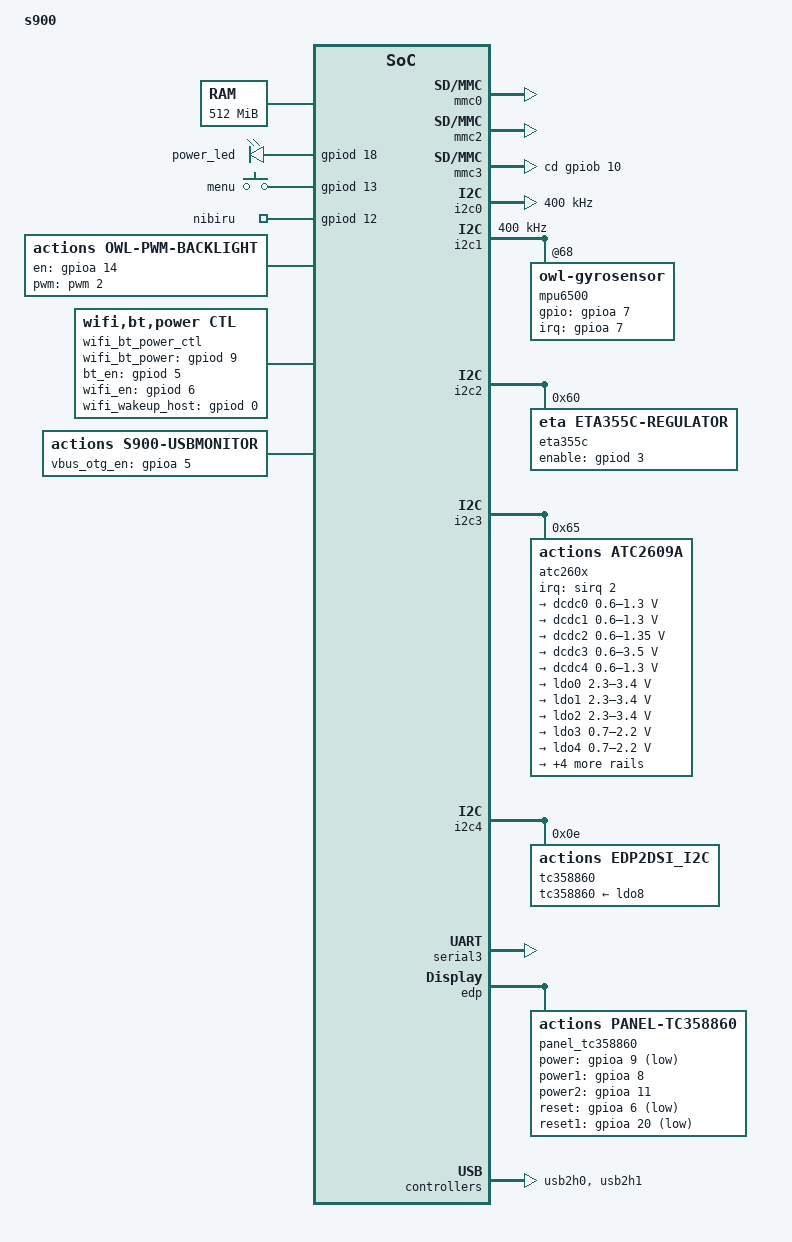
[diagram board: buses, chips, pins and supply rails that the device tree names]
/*
 * Copyright (C) 2014 Actions Semi. Inc
 *
 * This program is free software; you can redistribute it and/or
 * modify it under the terms of the GNU General Public License as
 * published by the Free Software Foundation version 2.
 *
 * This program is distributed "as is" WITHOUT ANY WARRANTY of any
 * kind, whether express or implied; without even the implied warranty
 * of MERCHANTABILITY or FITNESS FOR A PARTICULAR PURPOSE.  See the
 * GNU General Public License for more details.
 */

/dts-v1/;

/* reserve 48MB for logo(fb) */
/memreserve/ 0x19000000 0x03000000;

/* reserve 512MB for ion1(pmem) */
/memreserve/ 0x20000000 0x20000000;

/* reserve 4k for afinfo */
/memreserve/ 0x18FFF000 0x1000;

#include "s900.dtsi"

/ {
	model = "s900";
	compatible = "actions,s900", "actions,s900-evb";

	chosen {
		bootargs="fb_logo_reserve=0x19000000,0x03000000 console=ttyS5,115200 earlyprintk=serial-owl,0xe012a000 no_console_suspend loglevel=4";
	};

	memory@00000000 {
		device_type = "memory";
		reg = <0 0x00000000 0 0x20000000>;
	};

	ion_config {
		compatible = "actions,s900-ion";
		actions,ion_heap_pmem_base = <0x0 0x20000000>;
		actions,ion_heap_pmem_size = <0x0 0x20000000>;
	};

	gpiod: gpiod@e01b0000 {
		pinctrl-names = "default";
		pinctrl-0 = <&pinctrl_gpio_lvds_o>, <&pinctrl_gpio_lvds_e>;
	};

	pinctrl@e01b0000 {
		pinctrl_i2c4: i2c4 {
			i2c4_mfp {
				actions,groups = "mfp3_8";
				actions,function = "i2c4";
			};

			i2c4_paddrv {
				actions,groups = "paddrv1_9_8";
				actions,paddrv = <3>;/*level 0~3*/
			};
		};

		pinctrl_i2c0_default: i2c0 {
			i2c0_mfp {
				actions,groups = "mfp3_18_16";
				actions,function = "i2c0";
			};

			i2c0_pull {
				actions,pins = "P_I2C0_SCLK", "P_I2C0_SDATA";
				actions,pull = <2>; /*PULL UP*/
			};

			i2c0_paddrv {
				actions,groups = "paddrv2_31_30";
				actions,paddrv = <3>;/*level 0~3*/
			};
		};
		pinctrl_i2c1_default: i2c1 {
			i2c1_paddrv {
				actions,groups = "paddrv2_29_28";
				actions,paddrv = <3>;/*level 0~3*/
			};
		};

	};


	pwm: pwm@e01b0000 {
		pwm2 {
			id = <2>;
			pinctrl-names = "default";
			pinctrl-0 = <&pwm2_state_default>;
		};
	};


	mmc0: mmc@e0338000 {
		card-type = "emmc";
		status = "okay";
	};

	mmc1: mmc@e033c000 {
		card-type = "emmc";
		status = "disabled";
	};

	mmc2: mmc@e0334000 {
		card-type = "wifi";
		wifi-card-voltage = "1.8v";  /* only: "1.8v", "3.1v" */
		status = "okay";
	};

	mmc3: mmc@e0330000 {
		card-type = "memory";  /* only: "memory", "wifi", or "emmc" */
		card-detect-mode = "gpio";  /* only: "sirq", "gpio", or "command" */
		cd-gpios = <&gpiob 10 0>; /*GPIOBE14 */
		sd_vcc = "ldo0";
		status = "okay";
	};


	i2c0: i2c@e0170000  {
	  clock-frequency = <400000>;
		status = "okay";

	};


	i2c1: i2c@e0172000 {
		clock-frequency = <400000>;
		status = "okay";
		mpu6500@68 {
		compatible = "owl-gyrosensor";
		interrupt-parent = <&gpioa>;
		interrupts = <7>;
		gpios = <&gpioa 7 0>; /* GPIOA7 */
		i2c_adapter_id = <1>;
		/*gyro_vcc = "ldo7";*/
		/*vol_range = <1800000 1810000>;*/
		MASTER_inv6500_position = "-2";
		SECONDARY_ak8963c_position = "-2";
		};
	};

  i2c2: i2c@e0174000 {
		status = "okay";

		eta355c: eta355c-regulator {
			compatible = "eta,eta355c-regulator";
			reg = <0x60>;

			regulator-name = "eta355c";
			regulator-type = "voltage";
			regulator-min-microvolt = <700000>;
			regulator-max-microvolt = <1350000>;
			startup-delay-us = <1000>;	/* us */
			regulator-ramp-delay = <250>;	/* uV/us */
			enable-gpio = <&gpiod 3 0x4>;	/* GPIOD3 */
			enable-active-high;
		  };
	  };


	i2c3: i2c@e0176000 {
		status = "okay";
		/* atc2609a (5303) */
		atc260x: atc2609a@65 {
			compatible = "actions,atc2609a","actions,atc260x";
			reg = <0x65>;
			interrupt-parent = <&sirq>;
			interrupts = <2>;
			interrupt-controller;
			#interrupt-cells = <1>;

			losc_32k_output_enable = <1>;    /* enable/disable output 32.768K clock via AUXIN1 pin */

			pm {
				compatible = "actions,atc2609a-pm";
			};

			onoff {
				compatible = "actions,atc2609a-onoff";
			};

			rtc{
				compatible = "actions,atc2609a-rtc";
			};

			atc260x_gpio{
				compatible = "actions,atc2609a-gpio";
			};
			atc260x-adckeypad{
				#define KEY_UP			103
				#define KEY_DOWN		108
				#define KEY_LEFT		105
				#define KEY_RIGHT		106
				#define KEY_OK			353
				#define KEY_BACK		158
				#define KEY_VOLUME_UP	115
				#define KEY_VOLUME_DOWN	114
				#define KEY_MENU		139
				keymapsize = <9>;                   /* number of ADC key */
				filter_dep = <3>;                   /* depth of the moving average filter (length of filter queue) */
				variance = <15>;                    /* filter will not output until the difference between every two ADC samples in the filter queue goes below this value */
				poll_interval =  <20>;              /* sample period, in ms */
				left_adc_val =  <2400 2800 3650 3250 1500 1950 300 650 1050>;           /* for key code translator, each value defines a lower bound of ADC value of a key */
				right_adc_val = <2700 3200 3900 3500 1800 2250 550 950 1350>;          /* for key code translator, each value defines a upper bound of ADC value of a key */
				key_val = <KEY_UP KEY_DOWN KEY_LEFT KEY_RIGHT KEY_OK KEY_BACK KEY_VOLUME_UP KEY_VOLUME_DOWN KEY_MENU>; /* for key code translator, each value defines the key_code of a key */
				adc_channel_name = "REMCON";          /* the ADC channel used for sampling, valid names are REMCON AUX0 AUX1 AUX2 (AUX3) */
				compatible = "actions,atc2609a-adckeypad";
			};

			/*the cfg params must be read	in the first installed ko,
			 now snd-soc-atv5302.ko is first installed.
			 1, earphone_detect_level use the third value of earphone_gpios
			 2, commonly, we shouldn't change the value of speaker_gain and earphone_gain*/

			atc260x-audio{
				compatible = "actions,atc2609a-audio";
				status = "okay";
        pinctrl-names = "default";
        pinctrl-0 = <&i2s0_state_default>;
				clocks = <&clock CLK_AUDIO_PLL>, <&clock CLK_HDMI_AUDIO>;
				clock-names = "audio_pll", "hdmia";
				earphone_detect_gpios = <&gpioa 3 0>; /*0: high, 1: low hr280ac GPIOB11 0*/
				speaker_en_gpios = <&gpioa 19 1>; /*hr280ac GPIOA(19) 0: high, 1: low*/
				earphone_output_mode = <1>; /*0: direct mode, 1: undirect mode*/
				mic_num = <1>; /*just suport 1, 2*/
				mic0_gain = < 0x7 0x7 >; /*<Lchannel,Rchannel> [0x0~0xF]*/
				speaker_gain = < 0xaa 0xaa >; /*<Lchannel,Rchannel>[0x00~0xbebe]*/
				earphone_gain = < 0xbe 0xbe >; /*<Lchannel,Rchannel>[0x00~0xbebe]*/
				speaker_volume = < 0x28 0x28 >; /*volume [0x00~0x28]*/
				earphone_volume = < 0x28 0x28 >; /*volume [0x00~0x28]*/
				earphone_detect_mode = <0>;  /*0: polling,   1: interrupt*/
			};

			atc260x-hwmon{
				compatible = "actions,atc2609a-hwmon";
			};

			atc260x-charger{
				compatible = "actions,atc2609a-charger";
				rsense = <20>;/*unit:mohm*/
				bat_type = <3>;/*0:4.18v; 1:4.2v; 2:4.3v; 3:4.35v*/
				bl_on_current_usb_pc = <200>;
				bl_off_current_usb_pc = <400>;
				bl_on_current_usb_adp = <200>;
				bl_on_current_usb_adp_high = <200>;
				bl_off_current_usb_adp = <1200>;
				bl_on_current_wall_adp = <200>;
				bl_off_current_wall_adp = <1400>;
				support_adaptor_type = <2>; /*1: DCIN  2: USB  3:DCIN+USB*/
				ext_charger = <0>;
				usb_adapter_as_ac = <1>;/*0:usb ada keep itself; 1:usb ada used as DCIN when usb plug and batv<3.3v during minicharge*/
				usb_pc_ctl_mode = <1>; /*0:disable vbus ctl;1:current limited;2:voltage limited*/
				wall_switch = <&gpioa 4 0>;/*GPIOA4,0: high, 1: low*/
			};
      atc2609a-battery{
				compatible = "actions,atc2609a-battery";
				ocv_table = <3616 3663 3677 3703 3722 3738 3758 3780 3810 3854 3908 3965 4035 4110 4207 4320>;/*mv*/
				r_table = <82 85 83 85 88 92 92 83 83 83 83 82 82 82 83 83>;/*mohm*/
				design_capacity = <4000>;/*unit:mAh*/
				taper_vol = <4320>;/*unit:mv*/
				taper_cur = <300>;/*unit:ma*/
				term_vol = <3400>;/*unit:mv*/
				ov_protect = <4375>;/*unit:mv*/
				sleep_current = <15000>;/*unit:ua*/
				shutdown_current = <50>;/*unit:ua*/
				boot_cap_threshold = <3>;
				bl_on_vol = <3300>;/*unit:mv*/
				print_switch = <0>;
				log_switch = <0>;
			};



			/* DCDC0       VDD_CORE
			 * DCDC1       VDD_CPU
			 * DCDC2       VDDR
			 * DCDC3       VCC
			 * DCDC4       VDD_CPUM
			 */
			dcdc0: dcdc0 {
				compatible = "actions,atc2609a-dcdc0","actions,atc2609a-dcdc";
				regulator-name = "dcdc0";
				regulator-min-microvolt = <600000>;
				regulator-max-microvolt = <1300000>;
				regulator-always-on;
			};

			dcdc1: dcdc1 {
				compatible = "actions,atc2609a-dcdc1","actions,atc2609a-dcdc";
				regulator-name = "dcdc1";
				regulator-min-microvolt = <600000>;
				regulator-max-microvolt = <1300000>;
				regulator-always-on;
			};

			dcdc2: dcdc2 {
				compatible = "actions,atc2609a-dcdc2","actions,atc2609a-dcdc";
				regulator-name = "dcdc2";
				regulator-min-microvolt = <600000>;
				regulator-max-microvolt = <1350000>;
				regulator-always-on;
			};

			dcdc3: dcdc3 {
				compatible = "actions,atc2609a-dcdc3","actions,atc2609a-dcdc";
				regulator-name = "dcdc3";
				regulator-min-microvolt = <600000>;
				regulator-max-microvolt = <3500000>;
				regulator-always-on;
			};

			dcdc4: dcdc4 {
				compatible = "actions,atc2609a-dcdc4","actions,atc2609a-dcdc";
				regulator-name = "dcdc4";
				regulator-min-microvolt = <600000>;
				regulator-max-microvolt = <1300000>;
				regulator-always-on;
			};

 			/* LDO0        SD_VCC
			 * LDO1        WIFI_3V3
			 * LDO2        AVCC
			 * LDO3        ATC2609_VDD
			 * LDO4        AVCC_1V8
			 * LDO6        AVDD_1V0
			 * LDO7        VCC_1V8_IO
			 * LDO8        UNUSED
			 * LDO9        RTC_VDD     */

			ldo0: ldo0{
				compatible = "actions,atc2609a-ldo0","actions,atc2609a-ldo";
				regulator-name = "ldo0";
				regulator-min-microvolt  = <2300000>;
				regulator-max-microvolt = <3400000>;
				regulator-always-on;
			};

			ldo1: ldo1{
				compatible = "actions,atc2609a-ldo1","actions,atc2609a-ldo";
				regulator-name = "ldo1";
				regulator-min-microvolt  = <2300000>;
				regulator-max-microvolt = <3400000>;
			};

			ldo2: ldo2{
				compatible = "actions,atc2609a-ldo2","actions,atc2609a-ldo";
				regulator-name = "ldo2";
				regulator-min-microvolt  = <2300000>;
				regulator-max-microvolt = <3400000>;
				regulator-always-on;
			};

			ldo3: ldo3{
				compatible = "actions,atc2609a-ldo3","actions,atc2609a-ldo";
				regulator-name = "ldo3";
				regulator-min-microvolt  = <700000>;
				regulator-max-microvolt = <2200000>;
				regulator-always-on;
			};

			ldo4: ldo4{
				compatible = "actions,atc2609a-ldo4","actions,atc2609a-ldo";
				regulator-name = "ldo4";
				regulator-min-microvolt  = <700000>;
				regulator-max-microvolt = <2200000>;
				regulator-always-on;
			};

			ldo6: ldo6{
				compatible = "actions,atc2609a-ldo6","actions,atc2609a-ldo";
				regulator-name = "ldo6";
				regulator-min-microvolt  = <850000>;
				regulator-max-microvolt = <2200000>;
				regulator-always-on;
			};

			ldo7: ldo7{
				compatible = "actions,atc2609a-ldo7","actions,atc2609a-ldo";
				regulator-name = "ldo7";
				regulator-min-microvolt  = <700000>;
				regulator-max-microvolt = <2200000>;
			};

			ldo8: ldo8{
				compatible = "actions,atc2609a-ldo8","actions,atc2609a-ldo";
				regulator-name = "ldo8";
				regulator-min-microvolt  = <2100000>;
				regulator-max-microvolt = <3300000>;
			};

			ldo9: ldo9{
				compatible = "actions,atc2609a-ldo9","actions,atc2609a-ldo";
				regulator-name = "ldo9";
				regulator-min-microvolt  = <2600000>;
				regulator-max-microvolt = <3300000>;
				regulator-always-on;
			};
		};
	};

	i2c4: i2c@e0178000 {
		pinctrl-names = "default";
		pinctrl-0 = <&pinctrl_i2c4>;
		status = "okay";
		//gslX680@40 {
		//	compatible = "gslX680";
		//	reg = <0x40>;
		//	tp_vcc = "ldo8";
		//	reset_gpios = <&gpiob 14 1>;/*GPIOB(14) 0: high, 1: low*/
		//	x_pixel = <1536>;
		//	y_pixel = <2048>;
		//	x_revert_en = <1>;
		//	y_revert_en = <0>;
		//	xy_swap_en = <0>;
		//	rotate_degree = <0>;     /* 0 90 180 270 */
		//	interrupt-parent = <&sirq>;
		//	interrupts = < 0 0x4 >; /*SIRQ0*/
		//	vol_range = <3100000 3110000>;
		//};


		tc358860@60 {
			compatible = "actions,edp2dsi_i2c";
			tc358860-supply = <&ldo8>;
			reg = <0x0e>;
		};
};
	leds-gpio{
		compatible = "gpio-leds";
		power-on {
			gpios = <&gpiod 18 0>;/*GPIOD(18) 0: high, 1: low*/
			label = "power_led";
			default-state = "on";
			linux,default-trigger = "power-on";
		};
	};

	gpiokeys {
		compatible = "gpio-keys-polled";
		poll-interval = <20>;

		pinctrl-names = "default";
		pinctrl-0 = <&pinctrl_gpio_lvds_e>;

	  menu {
			gpios = <&gpiod 13 0>; /* GPIOD13 */
			keycode = <316>;
			label = "menu";
		};
		nibiru {
			gpios = <&gpiod 12 0>; /* GPIOD12 */
			keycode = <110>;    /*KEY_BUTTON_MODE*/
			label = "nibiru";
		};
	};


	serial3: uart@e0126000 {
		dmas = <&dma DMA_DRQ_UART3_TX>, <&dma DMA_DRQ_UART3_RX>;
		dma-names = "tx", "rx";
		status = "okay";
	};
	//serial5: uart@e012a000 {
	//	pinctrl-0 = <&serial5_state_default>;
	//	status = "ok";
	//};



	//flashlight {
	//	compatible = "flashlight";
	//	flashlight-enable = <&gpioa 23 1>; /* GPIOA0 */
	//	flashlight-flash  = <&gpioa 24 1>; /* GPIOA1 */
	//	status = "okay";
	//};

	//hdmiin {
	//	compatible = "tc358749";
	//	hdmiin-int-gpios = <&gpioa 27 1>;
	//	status = "okay";
	//};

	//isp0: isp@e0270000 {
	//	mirror_flip = <10>;  /* 1: no flip,horizontal mirror for gc2755; */

	//	rear-avdd-src = "gpio";  /* only: "gpio", "regulator" */
	//	rear-avdd-gpios = <&gpiob 9 1>; /* only when vbus-src is "regulator" */
	//	front-avdd-src = "gpio";  /* only: "gpio", "regulator" */
	//	front-avdd-gpios = <&gpioa 18 1>; /* only when vbus-src is "regulator" */
	//	dvdd-src = "regulator";  /* only: "gpio", "regulator" */
	//	dvdd-regulator = "ldo7";
	//	dvdd-regulator-scope = <1200000 1210000>;  /* uV */

	//	board_type = "ces";/* "ces" or "evb"*/
	//	sensors = "dual"; /* "dual", "front" or "rear" */
	//	pwdn-rear-gpios = <&gpioa 2 1>; /* GPIOA1 */
	//	pwdn-front-gpios = <&gpioa 0 1>; /* GPIOE26 */
	//	rear-reset-gpios = <&gpiob 15 1>; /*GPIOE22*/
	//	front-reset-gpios = <&gpiob 14 1>; /*GPIOE27*/

	//	pinctrl-names = "default";
	//	pinctrl-0 = <&mipi_csi0_state_default>, <&mipi_csi1_state_default>;

	//	status = "okay"; /* create platform-device */
	//	rear_mipi_configs = <&configr>;
	//	front_mipi_configs = <&configf>;

	//	configr: rear_configs {
	//		clk_settle_time = <21>;
	//		clk_term_time = <1>;
	//		data_settle_time = <21>;
	//      	data_term_time = <1>;
	//		lane0_map = <0>;
	//       	lane1_map = <1>;
	//        	lane2_map = <2>;
	//        	lane3_map = <3>;
	//	};

	//	configf: front_configs {
	//		clk_settle_time = <21>;
	//		clk_term_time = <1>;
	//		data_settle_time = <21>;
	//        	data_term_time = <1>;
	//		lane0_map = <0>;
	//        	lane1_map = <1>;
	//        	lane2_map = <2>;
	//        	lane3_map = <3>;
	//	};
	//};

	//sensors: isp-sensor {
	//	compatible = "sensor_common";
	//	rear_i2c_adapter = <&i2c4>; /* 0-3 begin from enabled ones */
	//	front_i2c_adapter = <&i2c0>; /* 0-3 begin from enabled ones */

	//	status = "okay";
	//};

	framebuffer {
		compatible = "actions,framebuffer";

		ovl_boot {
		        usage = "boot";
		        disp_dev = <&panel_tc358860>;
		};

		ovl_extra {
		        usage = "extra";
		};
	};

	edp: edp@e02e0000 {
		panel_configs = <&config0>;

		/*
		 * edp_configs, used to configure edp controller,
		 * its values should set according to edp panel's spec.
		 * Currently, the configration is for lg-lp097qx1 panel.
		 */
		config0: edp_configs {
			link_rate = <1>;	/* 0, 1.62G; 1, 2.7G; 2, 5.4G */

			lane_count = <4>;
			lane_polarity = <0x00>;	/* bit 0~3 map for data lanes' polarity,
						   bit 4 map for aux lanes' polarity,
						   0 normal, 1 reversed */
			lane_mirror = <0>;	/* lane mirror, 0 lane0~3, 1 lane3~0 */

			mstream_polarity = <0x3>;/* bit map for mstream's polarity,
						   bit1: vsync, bit0 hsync */
			user_sync_polarity = <0xc>;/* bit map for user sync's polarity,
						    * bit3: sync signal polarity,
						    * bit2: enable signal polarity,
						    * bit1: vsync polarity,
						    * bit0: hsync polarity
						    */

			pclk_parent = <1>;	/* 0, ASSIST_PLL, 1, DISPLAY PLL */
			pclk_rate = <264000000>;/* 250MHz, ASSIST_PLL, divider 2 */
		};

		/* sharp-tc358860 edp2dsi panel */
		panel_tc358860: edp_panel {
			compatible = "actions,panel-tc358860";

			/* panel's fixed info */
			width_mm = <68>;
			height_mm = <121>;
			bpp = <24>;

			is_primary = <1>;
			hotplugable = <0>;
			hotplug_always_on = <0>;

			/* operation delay in ms */
			power_on_delay = <10>;
			power_off_delay = <0>;
			enable_delay = <10>;
			disable_delay = <0>;
			vsync_off_us=<0>;

			/*
			 * property val of the display effects of panel.
			 * range is 0~100.
			 */
			gamma_r_val = <100>;
			gamma_g_val = <100>;
			gamma_b_val = <90>;

			power-gpio = <&gpioa 9 1>; /* tc358860 power, active low */
			power1-gpio = <&gpioa 8 0>; /* panel vddio, active high */
			power2-gpio = <&gpioa 11 0>; /* panel vsp, active high*/

			reset-gpio = <&gpioa 6 1>; /* tc358860 reset, active low */
			reset1-gpio = <&gpioa 20 1>; /* panel reset, active low */

			videomode-0 = <&mode0>;

			/* 1440x2560p60 */
			mode0: videomode {
				refresh_rate = <60>;

				xres = <1440>;
				yres = <2560>;

				/*
				 * pclk_rate = 200MHz, ASSIS_PLL, divider 2.5
				 * pixel_clock = picoseconds / pclk_rate
				 */
				pixel_clock = <5000>;

				hbp = <170>;
				hfp = <80>;
				hsw = <40>;

				vbp = <6>;
				vfp = <8>;
				vsw = <2>;

				/* 0: FB_VMODE_NONINTERLACED, 1:FB_VMODE_INTERLACED */
				vmode = <0>;
			};
		};
	};

//	leds-gpio{
//		compatible = "gpio-leds";
//		charging {
//			gpios = <&gpiob 8 0>;/*GPIOB(8) 0: high, 1: low*/
//			label = "charging_led";
//			default-state = "off";
//			linux,default-trigger = "battery-charging";
//		};
//	};

	de@e02e0000 {
		gamma_adjust_needed = <0>;
	};

	backlight {
		compatible = "actions,owl-pwm-backlight";

		/* GPIOA14, active high */
		en-gpios = <&gpioa 14 0>;

		/*1.pwm num; 2. period in ns; */
		/*3.plarity, 0: high active, 1: low active*/
		pwms = <&pwm 2 50000 0>;

		total_steps = <1024>;
		min_brightness = <100>;
		max_brightness = <1000>;
		dft_brightness = <500>;

		delay_bf_pwm = <0>; /*in ms*/
		delay_af_pwm = <200>; /*in ms*/
	};
	wifi_bt_power_ctl {
		compatible = "wifi,bt,power,ctl";

		wifi_bt_power_gpios = <&gpiod 9 0>; /*  GPIOd9 */
		bt_en_gpios = <&gpiod 5 0>;/*GPIOd2 high active*/  /*M3305 A17 reset pin*/
		wifi_en_gpios = <&gpiod 6 0>; /* GPIOd9*/
		wifi_wakeup_host_gpios = <&gpiod 0 0>; 	/* GPIOD0 */
	};


	monitor {
		compatible = "actions,s900-usbmonitor";
		detect_type = <3>; /* config what to detect, 0:DISABLE ; 1:DEVICE_ONLY; 2:HOST_ONLY; 3: HOST_AND_DEVICE*/
		idpin_type   = <0>; /* 0:use ic's idpin;      1:soft idpin,##no support!##;       2:gpio idpin,use gpio to detect,need to add a "idpin_gpio" configuration */
		vbus_type   = <2>; /* 0:use ic's vbuspin; 1:gpio vbus,##no support!## ;      2:use dc5v to detect vbus level*/

		/*vbus_otg_en_gpio is use to turn on/off otg vbus,it's different from vbus detect gpio;*/
		vbus_otg_en_gpios = <&gpioa 5 0>;  /* GPIOD1,  1: low active; 0: high active */
		status = "okay";
	};


	owl_usb_config {
		compatible = "actions,owl-usb-config";
		usb_serialnumber_config = <1>; /* config serialnumber string format, 0: fixed serial no in ascii format; 1: fixed serial no in unicode format; 2:non-fixed serial no in unicode format*/
		usb_hs_output_strength = <3>; /*defaut:3,range:0~7; 0:min,7:max;usb high speed(2.0)transmitter output strength*/
		status = "okay";
	};

 	usb2h0: usb@e02b0000 {
		/*vbus_otg_en_gpio = <&gpiod 9 1>; *//*GPIO D19*/
		port_host_plug_detect = <1>;
		status = "okay";
	};

	usb2h1: usb@e02c0000 {
		vbus_otg_en_gpio =<&gpioa 23 0>; /*note:delete GPIO D18 because usb3.0 use the same GPIO with usb2h1*/
		port_host_plug_detect = <1>; /*0:disable 1:enable and vbus contrl 2:only detect*/
		//aotg_wake_lock = <1>; /*keep wake_lock,prevent suspend*/
		status = "okay";
	};


	gpu@e0600000 {
		gpu-supply = <&eta355c>;

		operating-points = <200000  825000
		                    264000  850000
							352000  875000
							440000  925000
		                    528000  950000
		                    600000  1000000>;

		default_max_level = <4>;
		default_min_level = <0>;
	};

	pcm-audio{
		compatible = "actions,pcm-audio";
		status = "okay";
		pinctrl-names = "default";
		pinctrl-0 = <&pcm1_state_default>;
	};
};
